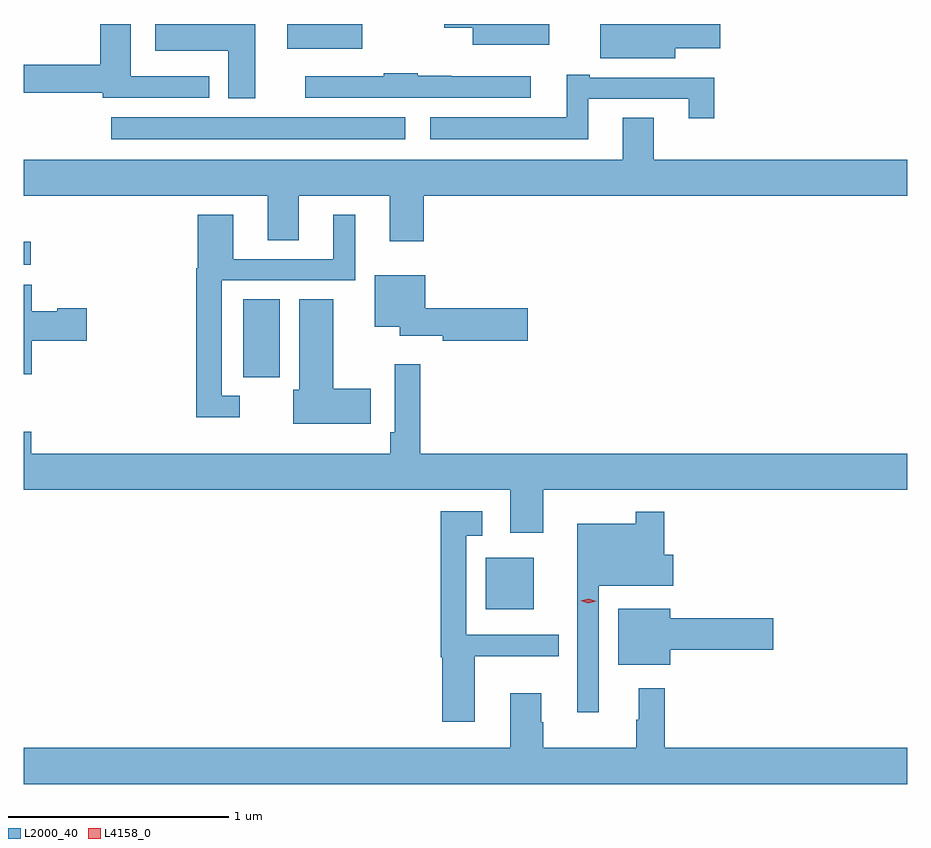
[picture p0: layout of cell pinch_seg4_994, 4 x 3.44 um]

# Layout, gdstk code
import gdstk
lib = gdstk.Library(unit=1e-6, precision=1e-09)
def R(c, l, rs):  # rectangles x0, y0, x1, y1
    for r in rs: c.add(gdstk.rectangle(r[:2], r[2:], *l))
def P(c, l, *ps):  # polygons
    for p in ps: c.add(gdstk.Polygon(p, *l))
L2000_40 = (2000, 40)
L4158_0 = (4158, 0)

pinch_seg4_994 = lib.new_cell('pinch_seg4_994')
R(pinch_seg4_994, L2000_40, [(784.256,788.288,784.474,788.521), (783.158,789.339,783.322,789.692), (782.164,789.848,782.194,789.952), (782.559,790.415,783.892,790.516), (783.356,790.826,783.697,790.938)])
P(pinch_seg4_994, L2000_40, [(783.211,790.938),(782.759,790.938),(782.759,790.817),(783.089,790.817),(783.089,790.601),(783.211,790.601)],
  [(783.004,790.701),(782.649,790.701),(782.649,790.938),(782.51,790.938),(782.51,790.754),(782.164,790.754),(782.164,790.626),(782.522,790.626),(782.522,790.605),(783.004,790.605)],
  [(784.543,790.938),(784.068,790.938),(784.068,790.922),(784.196,790.922),(784.196,790.844),(784.543,790.844)],
  [(785.113,790.829),(785.317,790.829),(785.317,790.938),(784.775,790.938),(784.775,790.784),(785.113,790.784)],
  [(784.459,790.702),(784.1,790.702),(784.1,790.704),(783.947,790.704),(783.947,790.714),(783.793,790.714),(783.793,790.701),(783.438,790.701),(783.438,790.605),(784.459,790.605)],
  [(784.72,790.599),(785.174,790.599),(785.174,790.512),(785.291,790.512),(785.291,790.695),(784.726,790.695),(784.726,790.708),(784.622,790.708),(784.622,790.516),(784.005,790.516),(784.005,790.415),(784.72,790.415)],
  [(783.974,790.16),(786.164,790.16),(786.164,790.324),(785.017,790.324),(785.017,790.514),(784.877,790.514),(784.877,790.324),(782.164,790.324),(782.164,790.16),(783.269,790.16),(783.269,789.958),(783.409,789.958),(783.409,790.16),(783.821,790.16),(783.821,789.954),(783.974,789.954)],
  [(783.142,789.255),(783.06,789.255),(783.06,789.777),(783.664,789.777),(783.664,790.075),(783.566,790.075),(783.566,789.873),(783.112,789.873),(783.112,790.075),(782.951,790.075),(782.951,789.831),(782.944,789.831),(782.944,789.158),(783.142,789.158)],
  [(784.447,789.65),(783.982,789.65),(783.982,789.799),(783.752,789.799),(783.752,789.566),(783.866,789.566),(783.866,789.527),(784.062,789.527),(784.062,789.503),(784.447,789.503)],
  [(782.2,789.503),(782.449,789.503),(782.449,789.65),(782.316,789.65),(782.316,789.637),(782.2,789.637),(782.2,789.757),(782.164,789.757),(782.164,789.351),(782.2,789.351)],
  [(783.736,789.286),(783.565,789.286),(783.565,789.692),(783.41,789.692),(783.41,789.282),(783.383,789.282),(783.383,789.128),(783.736,789.128)],
  [(784.516,788.828),(786.164,788.828),(786.164,788.992),(783.959,788.992),(783.959,789.397),(783.843,789.397),(783.843,789.088),(783.823,789.088),(783.823,788.992),(782.198,788.992),(782.198,789.091),(782.164,789.091),(782.164,788.828),(784.367,788.828),(784.367,788.634),(784.516,788.634)],
  [(784.207,788.075),(784.586,788.075),(784.586,788.172),(784.167,788.172),(784.167,788.621),(784.24,788.621),(784.24,788.731),(784.051,788.731),(784.051,788.069),(784.058,788.069),(784.058,787.779),(784.207,787.779)],
  [(784.767,788.393),(785.104,788.393),(785.104,788.535),(785.063,788.535),(785.063,788.728),(784.935,788.728),(784.935,788.674),(784.67,788.674),(784.67,788.297),(784.671,788.297),(784.671,787.821),(784.767,787.821)],
  [(785.092,788.104),(785.557,788.104),(785.557,788.246),(785.092,788.246),(785.092,788.29),(784.856,788.29),(784.856,788.036),(785.092,788.036)],
  [(786.164,787.66),(785.066,787.66),(785.066,787.93),(784.949,787.93),(784.949,787.787),(784.938,787.787),(784.938,787.66),(784.515,787.66),(784.515,787.775),(784.507,787.775),(784.507,787.906),(784.367,787.906),(784.367,787.66),(782.164,787.66),(782.164,787.496),(786.164,787.496)])
P(pinch_seg4_994, L4158_0, [(784.721,788.315),(784.686,788.327),(784.686,788.327),(784.686,788.327),(784.722,788.335),(784.757,788.323),(784.757,788.323),(784.757,788.323)])

lib.write_gds('pinch_seg4_994.gds')
